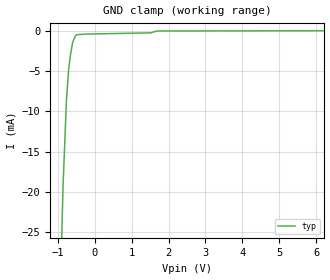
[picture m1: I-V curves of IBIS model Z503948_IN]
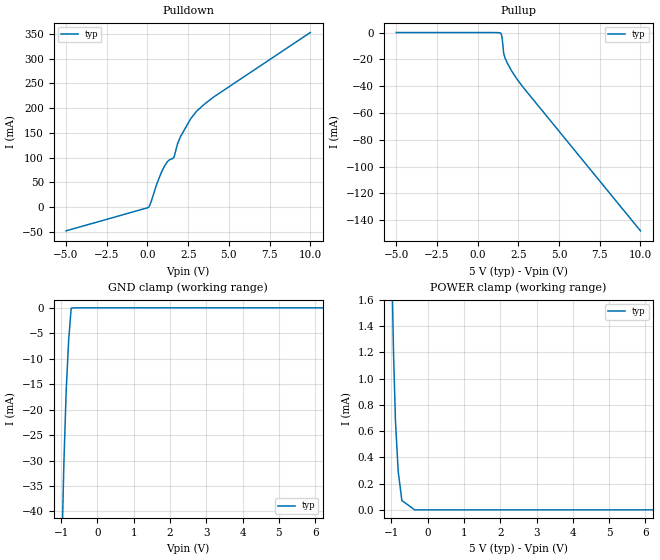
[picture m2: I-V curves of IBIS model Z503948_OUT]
| YOU ARE ONLY AUTHORIZED TO USE THIS SOFTWARE
| ACCORDING TO LICENSOR'S LICENSE RESTRICTIONS.
[IBIS Ver] 3.1
[File Name] mc74f00d.ibs
[File Rev] 2.0
[Source] Measured and created by ICX Technology
[Date] Friday 7/14/00 9:08:03 AM
[Copyright]
| (C) COPYRIGHT 1993-2000
| MENTOR GRAPHICS CORPORATION
| ICX STANDARD LIBRARY, ICX PROJECT MODELING,
| ICX CUSTOM MODELING, ICX VENDOR MODEL
| ALL RIGHTS RESERVED.
| THE FOLLOWING ARE TRADEMARKS OR SERVICE MARKS OF
| MENTOR GRAPHICS CORPORATION:ICX (R), ICX STANDARD
| LIBRARY(R), ICX PROJECT MODELING(R), ICX CUSTOM
| MODELING(R), qualityIBIS(TM), MODELVIEWER(TM),
| AND MODELEDITOR(TM)
| ALL COPIES OF SOFTWARE, INCLUDING BUT NOT LIMITED TO
| ANY MODIFICATIONS, ENHANCEMENTS OR DERIVATIVE WORKS,
| MUST CONTAIN ALL MENTOR GRAPHICS CORPORATION'S
| NOTICES AND LEGENDS, INCLUDING THOSE EMBEDDED IN
| SOFTWARE AND THOSE AFFIXED TO SOFTWARE MEDIUM
| AND CONTAINER, AS RECEIVED FROM MENTOR GRAPHICS
| CORPORATION.
|  ZAP Model Builder 2.7
[Component] MC74F00D
[Manufacturer] OnSemiconductor
[Package]
| variable   typ   min   max
R_pkg  .155ohms NA NA
L_pkg  3.028nH NA NA
C_pkg  .381pF NA NA
[Pin] signal_name  model_name  R_pin  L_pin C_pin
1 A Z503948_IN .16 3.587n .407p
2 B Z503948_IN .156 3.147n .387p
3 Y Z503948_OUT .152 2.717n .367p
4 A Z503948_IN .148 2.297n .347p
5 B Z503948_IN .152 2.717n .367p
6 Y Z503948_OUT .156 3.147n .387p
7 GROUND GND .16 3.587n .407p
8 Y Z503948_OUT .16 3.587n .407p
9 A Z503948_IN .156 3.147n .387p
10 B Z503948_IN .152 2.717n .367p
11 Y Z503948_OUT .148 2.297n .347p
12 A Z503948_IN .152 2.717n .367p
13 B Z503948_IN .156 3.147n .387p
14 VCC POWER .16 3.587n .407p
| Models and submodels in the file (2): Z503948_IN (Input), Z503948_OUT (Output)
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| (C) COPYRIGHT 1993-2000
| MENTOR GRAPHICS CORPORATION
| ICX STANDARD LIBRARY, ICX PROJECT MODELING,
| ICX CUSTOM MODELING, ICX VENDOR MODEL
| ALL RIGHTS RESERVED.
| THE FOLLOWING ARE TRADEMARKS OR SERVICE MARKS OF
| MENTOR GRAPHICS CORPORATION:ICX (R), ICX STANDARD
| LIBRARY(R), ICX PROJECT MODELING(R), ICX CUSTOM
| MODELING(R), qualityIBIS(TM), MODELVIEWER(TM),
| AND MODELEDITOR(TM)
| ALL COPIES OF SOFTWARE, INCLUDING BUT NOT LIMITED TO
| ANY MODIFICATIONS, ENHANCEMENTS OR DERIVATIVE WORKS,
| MUST CONTAIN ALL MENTOR GRAPHICS CORPORATION'S
| NOTICES AND LEGENDS, INCLUDING THOSE EMBEDDED IN
| SOFTWARE AND THOSE AFFIXED TO SOFTWARE MEDIUM
| AND CONTAINER, AS RECEIVED FROM MENTOR GRAPHICS
| CORPORATION.
| Model Application Version 1.89 2/18/99.
[Model] Z503948_IN
Model_type Input
Vinl = 800.0mV
Vinh = 2.000V
C_comp 4.000pF NA NA
| variable typ   min   max
[Voltage Range] 5.000V NA NA
[GND Clamp Reference] 0.000V NA NA
[POWER Clamp Reference] 5.000V NA NA
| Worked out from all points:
|   GND clamp passes 1 mA (typ) near -0.56 V on its own axis
[GND Clamp]
-5V       -730.9mA   NA         NA
-852.9mV  -19.07mA   NA         NA
-761.6mV  -8.523mA   NA         NA
-701.8mV  -4.757mA   NA         NA
-654.7mV  -2.992mA   NA         NA
-594.3mV  -1.448mA   NA         NA
-524mV    -631.4uA   NA         NA
-481.5mV  -477.3uA   NA         NA
1.449V    -250.7uA   NA         NA
1.685V    -12.58uA   NA         NA
10V       38.78uA    NA         NA
[POWER Clamp]
-5V       0A         NA         NA
10V       0A         NA         NA
| (C) COPYRIGHT 1993-2000
| MENTOR GRAPHICS CORPORATION
| ICX STANDARD LIBRARY, ICX PROJECT MODELING,
| ICX CUSTOM MODELING, ICX VENDOR MODEL
| ALL RIGHTS RESERVED.
| THE FOLLOWING ARE TRADEMARKS OR SERVICE MARKS OF
| MENTOR GRAPHICS CORPORATION:ICX (R), ICX STANDARD
| LIBRARY(R), ICX PROJECT MODELING(R), ICX CUSTOM
| MODELING(R), qualityIBIS(TM), MODELVIEWER(TM),
| AND MODELEDITOR(TM)
| ALL COPIES OF SOFTWARE, INCLUDING BUT NOT LIMITED TO
| ANY MODIFICATIONS, ENHANCEMENTS OR DERIVATIVE WORKS,
| MUST CONTAIN ALL MENTOR GRAPHICS CORPORATION'S
| NOTICES AND LEGENDS, INCLUDING THOSE EMBEDDED IN
| SOFTWARE AND THOSE AFFIXED TO SOFTWARE MEDIUM
| AND CONTAINER, AS RECEIVED FROM MENTOR GRAPHICS
| CORPORATION.
| Model Application Version 1.89 2/18/99.
[Model] Z503948_OUT
Model_type Output
Vref=0.000V
Rref=500.0ohms
Cref=50.00pF
Vmeas=1.500V
C_comp 8.000pF NA NA
| variable typ   min   max
[Voltage Range] 5.000V NA NA
[POWER Clamp Reference] 5.000V NA NA
[Pullup Reference] 5.000V NA NA
[Pulldown Reference] 0.000V NA NA
[GND Clamp Reference] 0.000V NA NA
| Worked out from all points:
|   slope of the pulldown table from 0 to 0.75 V, typ, clamps not added: 11.9 ohm
|   slope of the pullup table from 0 to 0.75 V, typ, clamps not added: 57.3 kohm
|   GND clamp passes 1 mA (typ) near -0.73 V on its own axis
|   POWER clamp passes 1 mA (typ) near -0.92 V on its own axis
[GND Clamp]
-5V       -2.4A      NA         NA
-1.143V   -118.3mA   NA         NA
-1.011V   -57.45mA   NA         NA
-922.9mV  -30.53mA   NA         NA
-859mV    -16.18mA   NA         NA
-791mV    -6.252mA   NA         NA
-721.3mV  -68.43uA   NA         NA
-631.1mV  0A         NA         NA
10V       0A         NA         NA
[Pulldown]
-5V       -48.04mA   NA         NA
68.51mV   -438.5uA   NA         NA
219.5mV   10.2mA     NA         NA
867.5mV   71.04mA    NA         NA
1.225V    91.74mA    NA         NA
1.634V    100.9mA    NA         NA
1.844V    127.4mA    NA         NA
2.027V    142.1mA    NA         NA
2.646V    177.9mA    NA         NA
3.008V    193.2mA    NA         NA
4.033V    221.5mA    NA         NA
10V       352.5mA    NA         NA
[Pullup]
-5V       10.55uA    NA         NA
683mV     10.55uA    NA         NA
1.416V    -512.6uA   NA         NA
1.465V    -1.665mA   NA         NA
1.504V    -4.017mA   NA         NA
1.602V    -15.76mA   NA         NA
1.686V    -19.12mA   NA         NA
2.07V     -28.33mA   NA         NA
2.422V    -34.87mA   NA         NA
2.783V    -40.71mA   NA         NA
10V       -148mA     NA         NA
[POWER Clamp]
-5V       346.2mA    NA         NA
-1.528V   21.78mA    NA         NA
-1.367V   12.22mA    NA         NA
-1.206V   6.39mA     NA         NA
-1.093V   3.719mA    NA         NA
-1.01V    2.219mA    NA         NA
-937mV    1.184mA    NA         NA
-884mV    673.1uA    NA         NA
-809mV    290.5uA    NA         NA
-708mV    70.88uA    NA         NA
-354mV    0A         NA         NA
10V       0A         NA         NA
[Ramp]
| variable typ min max
dV/dt_r 2.038/2.321n NA NA
dV/dt_f 2.038/412.3p NA NA
R_load = 500.0Ohms
